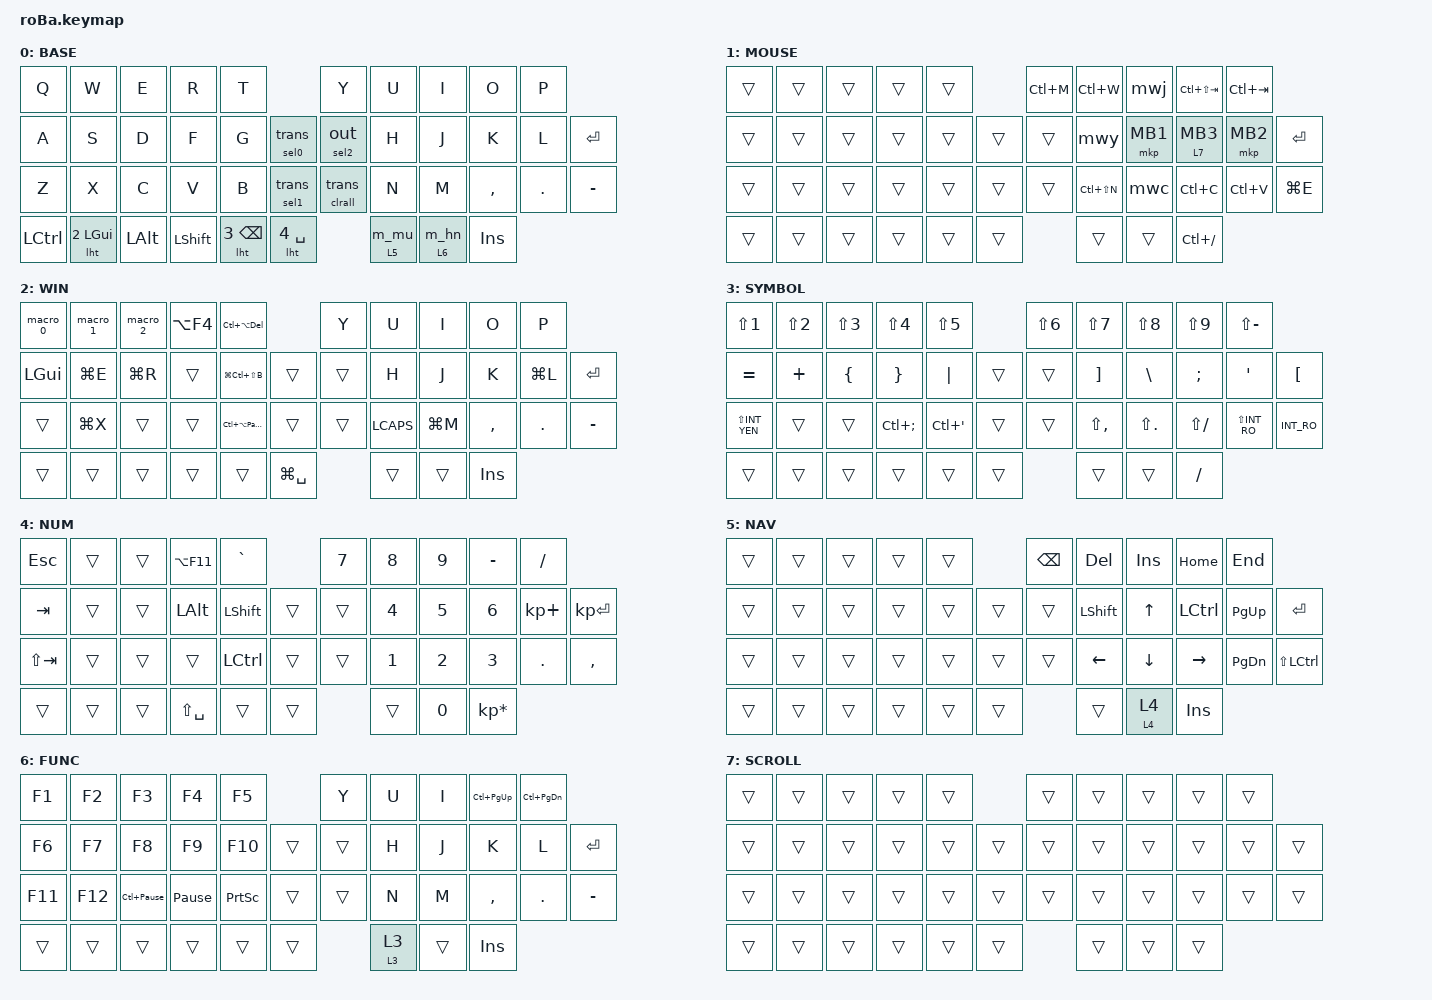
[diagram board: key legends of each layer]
/*
 * roBa keymap  ---  Keyball39 (takashicompany2025 / miniZone + Remap 最新) 移植
 *
 * L0 BASE / L1 MOUSE(自動・最下位) / L2 WIN / L3 SYMBOL / L4 NUM / L5 NAV / L6 FUNC
 *
 * 重要: MOUSE は最下位の層なので、上位層の &trans は MOUSE に落ちてしまう。
 *       それを防ぐため、MOUSE で何か定義している16箇所は上位層にも明示的に書いてある
 *       （Keyball の「▽はレイヤ0に落ちる」と同じ結果になる）。
 *
 * 余りポート: 左内側上 BT_SEL0(長押し) / 左内側下 BT_SEL1(長押し) / 右内側上 長押し=BT_SEL2 / タップ=USB⇔BLE / 右内側下 BT_CLR_ALL(長押し)
 */

#include <behaviors.dtsi>
#include <dt-bindings/zmk/bt.h>
#include <dt-bindings/zmk/keys.h>
#include <dt-bindings/zmk/outputs.h>
#include <dt-bindings/zmk/pointing.h>

&trackball {
    automouse-layer = <1>;
    scroll-layers   = <7>;   /* L7 SCROLL が有効な間はトラックボール＝スクロール */
};

&mt { flavor = "balanced"; quick-tap-ms = <0>;   tapping-term-ms = <200>; };
/* レイヤータップ（Space/BS/LGUI）: 他のキーを押した瞬間にレイヤー確定＝Keyball と同じ体感速度
   quick-tap-ms=200 は「同じキーを素早く2回押して2回目を保持＝連打」用 */
/* 押した瞬間にレイヤーを有効化（他のキーの到着を待たない）
   タップ（他キーなしで離す）なら最後にスペース/BSを送る */
/* hold-while-undecided: 押した瞬間からレイヤー有効（右手キーの到着を待たない）
   IMEマクロが &to 0 ではなく &loff 1（MOUSE層だけ解除）なので、押しっぱなしの層は壊れない */
&lt { flavor = "hold-preferred"; quick-tap-ms = <200>; tapping-term-ms = <200>; hold-while-undecided; };

/ {
    macros {
        /* BT プロファイル選択（hold-tap から呼ぶため引数なしのマクロにしておく） */
        sel0: sel0 { compatible = "zmk,behavior-macro"; #binding-cells = <0>; bindings = <&bt BT_SEL_CMD 0>; };
        sel1: sel1 { compatible = "zmk,behavior-macro"; #binding-cells = <0>; bindings = <&bt BT_SEL_CMD 1>; };
        sel2: sel2 { compatible = "zmk,behavior-macro"; #binding-cells = <0>; bindings = <&bt BT_SEL_CMD 2>; };
        clrall: clrall { compatible = "zmk,behavior-macro"; #binding-cells = <0>; bindings = <&bt BT_CLR_ALL_CMD 0>; };

        macro_0: macro_0 {
            compatible = "zmk,behavior-macro";
            #binding-cells = <0>;
            wait-ms = <10>;
            tap-ms = <10>;
            bindings = <&macro_tap &kp LS(W) &kp N1 &kp T &kp Y &kp Y &kp T &kp N6 &kp N5 &kp N6 &kp N5>;
        };
        macro_1: macro_1 {
            compatible = "zmk,behavior-macro";
            #binding-cells = <0>;
            wait-ms = <10>;
            tap-ms = <10>;
            bindings = <&macro_tap &kp LS(A) &kp MINUS &kp Z &kp I &kp P &kp N0 &kp N8 &kp N2 &kp N2>;
        };
        macro_2: macro_2 {
            compatible = "zmk,behavior-macro";
            #binding-cells = <0>;
            wait-ms = <10>;
            tap-ms = <10>;
            bindings = <&macro_tap &kp LS(S) &kp Y &kp S &kp T &kp E &kp M &kp N3 &kp N0 &kp N2 &kp N2>;
        };
        mwy: mwy {
            compatible = "zmk,behavior-macro";
            #binding-cells = <0>;
            wait-ms = <10>;
            tap-ms = <10>;
            bindings = <&macro_press &kp LGUI &macro_tap &kp Y &macro_release &kp LGUI>;
        };
        mwj: mwj {
            compatible = "zmk,behavior-macro";
            #binding-cells = <0>;
            wait-ms = <10>;
            tap-ms = <10>;
            bindings = <&macro_press &kp LGUI &macro_tap &kp J &macro_release &kp LGUI>;
        };
        mwc: mwc {
            compatible = "zmk,behavior-macro";
            #binding-cells = <0>;
            wait-ms = <10>;
            tap-ms = <10>;
            bindings = <&macro_press &kp LGUI &macro_tap &kp C &macro_release &kp LGUI>;
        };
        m_mu: m_mu {
            compatible = "zmk,behavior-macro";
            #binding-cells = <0>;
            wait-ms = <0>;
            tap-ms = <0>;
            bindings = <&macro_tap &loff 1 &macro_tap &kp INT_MUHENKAN>;
        };
        m_hn: m_hn {
            compatible = "zmk,behavior-macro";
            #binding-cells = <0>;
            wait-ms = <0>;
            tap-ms = <0>;
            bindings = <&macro_tap &loff 1 &macro_tap &kp INT_HENKAN>;
        };
    };

    behaviors {
        tt: tt {
            compatible = "zmk,behavior-hold-tap";
            #binding-cells = <2>;
            tapping-term-ms = <200>;
            quick-tap-ms = <0>;
            flavor = "balanced";
            bindings = <&mo>, <&tog>;
        };
        ltm: ltm {
            compatible = "zmk,behavior-hold-tap";
            #binding-cells = <2>;
            tapping-term-ms = <200>;
            quick-tap-ms = <0>;
            flavor = "tap-preferred";
            bindings = <&mo>, <&m_mu>;
        };
        lth: lth {
            compatible = "zmk,behavior-hold-tap";
            #binding-cells = <2>;
            tapping-term-ms = <200>;
            quick-tap-ms = <0>;
            flavor = "tap-preferred";
            bindings = <&mo>, <&m_hn>;
        };
        /* BT: 長押しで発動（タップ無効）
           hold-tap の bindings は「引数なしの phandle」しか置けないため、
           プロファイル番号はマクロ側に埋め込んでいる */
        /* 中クリックキー: 押している間はスクロール / タップで中クリック */
        scrl: scrl {
            compatible = "zmk,behavior-hold-tap";
            #binding-cells = <2>;
            tapping-term-ms = <200>;
            quick-tap-ms = <0>;
            flavor = "hold-preferred";
            hold-while-undecided;
            bindings = <&mo>, <&mkp>;
        };

        /* 押した瞬間にレイヤーON / 単独タップなら離した時にキー送出
           （ZMK の hold-tap は未確定を1個しか持てないため、無変換を押したまま
             スペースを押すとスペース側が反応しない。それを避ける専用ビヘイビア） */
        lht: lht {
            compatible = "zmk,behavior-lht";
            #binding-cells = <2>;
        };

        /* 指定レイヤーだけを解除する（&to 0 と違い、押しっぱなしの層を巻き込まない） */
        loff: loff {
            compatible = "zmk,behavior-layer-off";
            #binding-cells = <1>;
        };

        bt0: bt0 {
            compatible = "zmk,behavior-hold-tap";
            #binding-cells = <2>;
            tapping-term-ms = <400>;
            quick-tap-ms = <0>;
            flavor = "balanced";
            bindings = <&sel0>, <&trans>;
        };
        bt1: bt1 {
            compatible = "zmk,behavior-hold-tap";
            #binding-cells = <2>;
            tapping-term-ms = <400>;
            quick-tap-ms = <0>;
            flavor = "balanced";
            bindings = <&sel1>, <&trans>;
        };
        bt2o: bt2o {
            compatible = "zmk,behavior-hold-tap";
            #binding-cells = <2>;
            tapping-term-ms = <400>;
            quick-tap-ms = <0>;
            flavor = "balanced";
            bindings = <&sel2>, <&out>;
        };
        bclr: bclr {
            compatible = "zmk,behavior-hold-tap";
            #binding-cells = <2>;
            tapping-term-ms = <400>;
            quick-tap-ms = <0>;
            flavor = "balanced";
            bindings = <&clrall>, <&trans>;
        };
    };

    keymap {
        compatible = "zmk,keymap";

        base {
            display-name = "BASE";
            bindings = <
    &kp Q              &kp W              &kp E              &kp R              &kp T              &kp Y              &kp U              &kp I              &kp O              &kp P
    &kp A              &kp S              &kp D              &kp F              &kp G              &bt0 0 0  &bt2o 0 0  &kp H              &kp J              &kp K              &kp L              &kp ENTER
    &kp Z              &kp X              &kp C              &kp V              &kp B              &bt1 0 0  &bclr 0 0  &kp N              &kp M              &kp COMMA          &kp DOT            &kp MINUS
    &kp LCTRL          &lht 2 LGUI         &kp LALT           &kp LSHFT          &lht 3 BSPC         &lht 4 SPACE        &ltm 5 0           &lth 6 0           &kp INS
            >;
        };

        mouse {
            display-name = "MOUSE";
            bindings = <
    &trans             &trans             &trans             &trans             &trans             &kp LC(M)          &kp LC(W)          &mwj               &kp LC(LS(TAB))    &kp LC(TAB)
    &trans             &trans             &trans             &trans             &trans             &trans             &trans             &mwy               &mkp               MB1                &scrl              7                  MB3                &mkp               MB2                &kp                ENTER            
    &trans             &trans             &trans             &trans             &trans             &trans             &trans             &kp LC(LS(N))      &mwc               &kp LC(C)          &kp LC(V)          &kp LG(E)
    &trans             &trans             &trans             &trans             &trans             &trans             &trans             &trans             &kp LC(SLASH)
            >;
        };

        win {
            display-name = "WIN";
            bindings = <
    &macro_0           &macro_1           &macro_2           &kp LA(F4)         &kp LC(LA(DEL))    &kp Y              &kp U              &kp I              &kp O              &kp P
    &kp LGUI           &kp LG(E)          &kp LG(R)          &trans             &kp LG(LC(LS(B)))  &trans             &trans             &kp H              &kp J              &kp K              &kp LG(L)          &kp ENTER
    &trans             &kp LG(X)          &trans             &trans             &kp LC(LA(PAUSE_BREAK))  &trans             &trans             &kp LCAPS          &kp LG(M)          &kp COMMA          &kp DOT            &kp MINUS
    &trans             &trans             &trans             &trans             &trans             &kp LG(SPACE)      &trans             &trans             &kp INS
            >;
        };

        symbol {
            display-name = "SYMBOL";
            bindings = <
    &kp LS(N1)         &kp LS(N2)         &kp LS(N3)         &kp LS(N4)         &kp LS(N5)         &kp LS(N6)         &kp LS(N7)         &kp LS(N8)         &kp LS(N9)         &kp LS(MINUS)
    &kp EQUAL          &kp PLUS           &kp LEFT_BRACE     &kp RIGHT_BRACE    &kp PIPE           &trans             &trans             &kp RIGHT_BRACKET  &kp BACKSLASH      &kp SEMICOLON      &kp SQT            &kp LEFT_BRACKET
    &kp LS(INT_YEN)    &trans             &trans             &kp LC(SEMICOLON)  &kp LC(SQT)        &trans             &trans             &kp LS(COMMA)      &kp LS(DOT)        &kp LS(SLASH)      &kp LS(INT_RO)     &kp INT_RO
    &trans             &trans             &trans             &trans             &trans             &trans             &trans             &trans             &kp SLASH
            >;
        };

        num {
            display-name = "NUM";
            bindings = <
    &kp ESC            &trans             &trans             &kp LA(F11)        &kp GRAVE          &kp N7             &kp N8             &kp N9             &kp MINUS          &kp SLASH
    &kp TAB            &trans             &trans             &kp LALT           &kp LSHFT          &trans             &trans             &kp N4             &kp N5             &kp N6             &kp KP_PLUS        &kp KP_ENTER
    &kp LS(TAB)        &trans             &trans             &trans             &kp LCTRL          &trans             &trans             &kp N1             &kp N2             &kp N3             &kp DOT            &kp COMMA
    &trans             &trans             &trans             &kp LS(SPACE)      &trans             &trans             &trans             &kp N0             &kp KP_MULTIPLY
            >;
        };

        nav {
            display-name = "NAV";
            bindings = <
    &trans             &trans             &trans             &trans             &trans             &kp BSPC           &kp DEL            &kp INS            &kp HOME           &kp END
    &trans             &trans             &trans             &trans             &trans             &trans             &trans             &kp LSHFT          &kp UP_ARROW       &kp LCTRL          &kp PG_UP          &kp ENTER
    &trans             &trans             &trans             &trans             &trans             &trans             &trans             &kp LEFT_ARROW     &kp DOWN_ARROW     &kp RIGHT_ARROW    &kp PG_DN          &kp LS(LCTRL)
    &trans             &trans             &trans             &trans             &trans             &trans             &trans             &tt 4 4            &kp INS
            >;
        };

        func {
            display-name = "FUNC";
            bindings = <
    &kp F1             &kp F2             &kp F3             &kp F4             &kp F5             &kp Y              &kp U              &kp I              &kp LC(PG_UP)      &kp LC(PG_DN)
    &kp F6             &kp F7             &kp F8             &kp F9             &kp F10            &trans             &trans             &kp H              &kp J              &kp K              &kp L              &kp ENTER
    &kp F11            &kp F12            &kp LC(PAUSE_BREAK)  &kp PAUSE_BREAK    &kp PSCRN          &trans             &trans             &kp N              &kp M              &kp COMMA          &kp DOT            &kp MINUS
    &trans             &trans             &trans             &trans             &trans             &trans             &tt 3 3            &trans             &kp INS
            >;
        };

        scroll {
            display-name = "SCROLL";
            bindings = <
    &trans             &trans             &trans             &trans             &trans             &trans             &trans             &trans             &trans             &trans           
    &trans             &trans             &trans             &trans             &trans             &trans             &trans             &trans             &trans             &trans             &trans             &trans           
    &trans             &trans             &trans             &trans             &trans             &trans             &trans             &trans             &trans             &trans             &trans             &trans           
    &trans             &trans             &trans             &trans             &trans             &trans             &trans             &trans             &trans           
            >;
        };
    };
};
